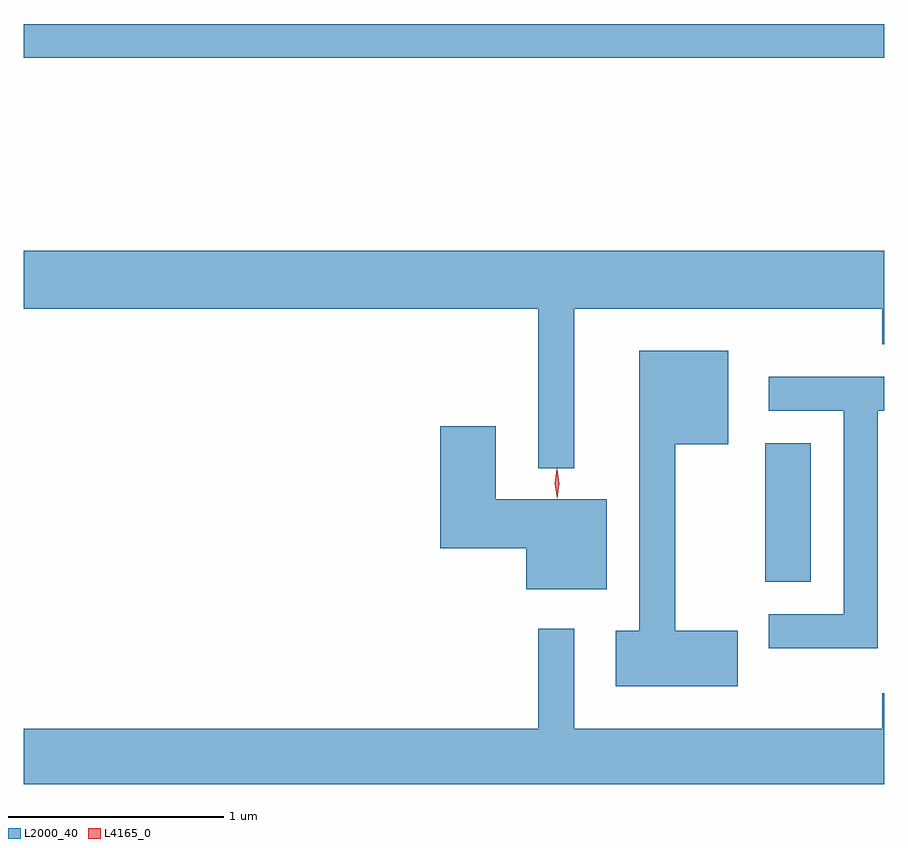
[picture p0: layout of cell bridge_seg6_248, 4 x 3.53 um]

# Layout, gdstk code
import gdstk
lib = gdstk.Library(unit=1e-6, precision=1e-09)
def R(c, l, rs):  # rectangles x0, y0, x1, y1
    for r in rs: c.add(gdstk.rectangle(r[:2], r[2:], *l))
def P(c, l, *ps):  # polygons
    for p in ps: c.add(gdstk.Polygon(p, *l))
L2000_40 = (2000, 40)
L4165_0 = (4165, 0)

bridge_seg6_248 = lib.new_cell('bridge_seg6_248')
R(bridge_seg6_248, L2000_40, [(1343.796,1575.406,1344.009,1576.049), (1340.35,1577.841,1344.35,1577.999)])
P(bridge_seg6_248, L2000_40, [(1342.909,1576.676),(1344.341,1576.676),(1344.341,1576.511),(1344.35,1576.511),(1344.35,1576.944),(1340.35,1576.944),(1340.35,1576.676),(1342.741,1576.676),(1342.741,1575.933),(1342.909,1575.933)],
  [(1343.669,1575.179),(1343.379,1575.179),(1343.379,1576.046),(1343.624,1576.046),(1343.624,1576.479),(1343.211,1576.479),(1343.211,1575.179),(1343.101,1575.179),(1343.101,1574.921),(1343.669,1574.921)],
  [(1344.319,1576.201),(1344.35,1576.201),(1344.35,1576.359),(1343.813,1576.359),(1343.813,1576.201),(1344.161,1576.201),(1344.161,1575.254),(1343.813,1575.254),(1343.813,1575.096),(1344.319,1575.096)],
  [(1343.059,1575.789),(1342.544,1575.789),(1342.544,1576.129),(1342.286,1576.129),(1342.286,1575.561),(1342.686,1575.561),(1342.686,1575.371),(1343.059,1575.371)],
  [(1344.35,1574.889),(1344.341,1574.889),(1344.341,1574.724),(1342.909,1574.724),(1342.909,1575.188),(1342.741,1575.188),(1342.741,1574.724),(1340.35,1574.724),(1340.35,1574.466),(1344.35,1574.466)])
P(bridge_seg6_248, L4165_0, [(1342.829,1575.794),(1342.829,1575.794),(1342.819,1575.862),(1342.828,1575.93),(1342.828,1575.931),(1342.829,1575.93),(1342.839,1575.862),(1342.83,1575.794)])

lib.write_gds('bridge_seg6_248.gds')
